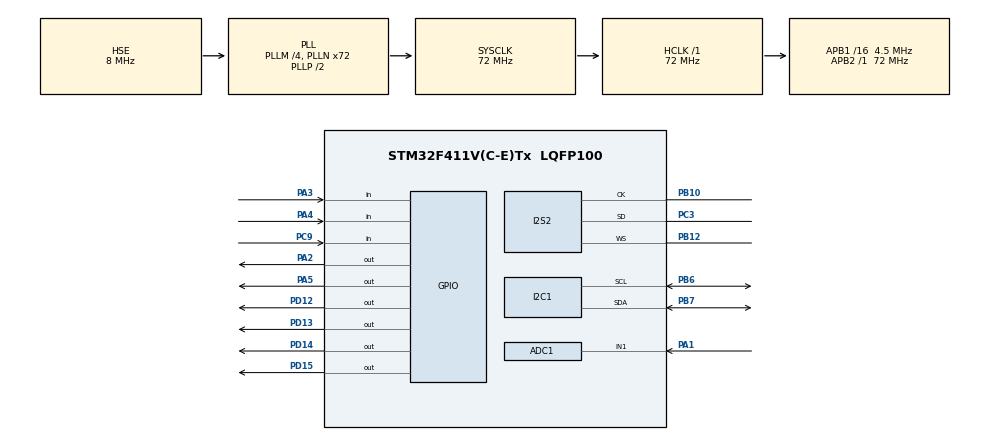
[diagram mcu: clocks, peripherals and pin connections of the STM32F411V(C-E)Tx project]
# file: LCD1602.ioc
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ADC1.Channel-3\#ChannelRegularConversion=ADC_CHANNEL_1
ADC1.ContinuousConvMode=ENABLE
ADC1.NbrOfConversionFlag=1
ADC1.Rank-3\#ChannelRegularConversion=1
ADC1.Resolution=ADC_RESOLUTION_10B
ADC1.SamplingTime-3\#ChannelRegularConversion=ADC_SAMPLETIME_3CYCLES
ADC1.ScanConvMode=ENABLE
ADC1.master=1
I2S2.AudioFreq=I2S_AUDIOFREQ_48K
I2S2.ErrorAudioFreq=0.15 %
I2S2.FullDuplexMode=I2S_FULLDUPLEXMODE_DISABLE
I2S2.Instance=SPI$Index
I2S2.Mode=I2S_MODE_MASTER_RX
I2S2.RealAudioFreq=48.076 KHz
I2S2.Standard=I2S_STANDARD_PHILIPS
I2S2.VirtualMode=I2S_MODE_MASTER
Mcu.Family=STM32F4
Mcu.Name=STM32F411V(C-E)Tx
Mcu.Package=LQFP100
NVIC.PriorityGroup=NVIC_PRIORITYGROUP_0
NVIC.TIM3_IRQn=true\:0\:0\:false\:false\:true\:true\:true\:true
PA1.Signal=ADCx_IN1
PA13.Mode=Serial_Wire
PA13.Signal=SYS_JTMS-SWDIO
PA14.Mode=Serial_Wire
PA14.Signal=SYS_JTCK-SWCLK
PA2.Signal=GPIO_Output
PA3.Signal=GPIO_Input
PA4.Signal=GPIO_Input
PA5.Signal=GPIO_Output
PB10.Mode=Half_Duplex_Master
PB10.Signal=I2S2_CK
PB12.Mode=Half_Duplex_Master
PB12.Signal=I2S2_WS
PB6.GPIO_Pu=GPIO_NOPULL
PB6.Mode=I2C
PB6.Signal=I2C1_SCL
PB7.GPIO_Pu=GPIO_NOPULL
PB7.Mode=I2C
PB7.Signal=I2C1_SDA
PC3.Mode=Half_Duplex_Master
PC3.Signal=I2S2_SD
PC9.Signal=GPIO_Input
PD12.Signal=GPIO_Output
PD13.Signal=GPIO_Output
PD14.GPIO_PuPd=GPIO_PULLUP
PD14.Signal=GPIO_Output
PD15.Signal=GPIO_Output
PH0\ -\ OSC_IN.Mode=HSE-External-Oscillator
PH0\ -\ OSC_IN.Signal=RCC_OSC_IN
PH1\ -\ OSC_OUT.Mode=HSE-External-Oscillator
PH1\ -\ OSC_OUT.Signal=RCC_OSC_OUT
ProjectManager.HeapSize=0x200
ProjectManager.StackSize=0x400
ProjectManager.TargetToolchain=STM32CubeIDE
RCC.48MHZClocksFreq_Value=18000000
RCC.AHBFreq_Value=72000000
RCC.APB1CLKDivider=RCC_HCLK_DIV16
RCC.APB1Freq_Value=4500000
RCC.APB1TimFreq_Value=9000000
RCC.APB2Freq_Value=72000000
RCC.APB2TimFreq_Value=72000000
RCC.CortexFreq_Value=72000000
RCC.HCLKFreq_Value=72000000
RCC.HSE_VALUE=8000000
RCC.HSI_VALUE=16000000
RCC.LSE_VALUE=32768
RCC.PLLI2SM=5
RCC.PLLI2SN=200
RCC.PLLM=4
RCC.PLLN=72
RCC.PLLQ=8
RCC.PLLSourceVirtual=RCC_PLLSOURCE_HSE
RCC.SYSCLKFreq_VALUE=72000000
RCC.SYSCLKSource=RCC_SYSCLKSOURCE_PLLCLK
RCC.VCOOutputFreq_Value=144000000
SH.ADCx_IN1.0=ADC1_IN1,IN1
TIM1.Prescaler=71
TIM3.ClockDivision=TIM_CLOCKDIVISION_DIV1
TIM3.Period=65532
TIM3.Prescaler=65532
VP_TIM1_VS_ClockSourceINT.Mode=Internal
VP_TIM3_VS_ClockSourceINT.Mode=Internal
board=STM32F411E-DISCO

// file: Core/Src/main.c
/* USER CODE BEGIN Header */
/**
  ******************************************************************************
  * @file           : main.c
  * @brief          : Main program body
  ******************************************************************************
  * @attention
  *
  * Copyright (c) 2022 STMicroelectronics.
  * All rights reserved.
  *
  * This software is licensed under terms that can be found in the LICENSE file
  * in the root directory of this software component.
  * If no LICENSE file comes with this software, it is provided AS-IS.
  *
  ******************************************************************************
  */
/* USER CODE END Header */
#include "main.h"

/* USER CODE BEGIN Includes */
#include "i2c-lcd.h"  //biblioteca para el uso del LCD 1602
/* USER CODE END Includes */

ADC_HandleTypeDef hadc1; //Handler para el convertidor usado en el LDR

I2C_HandleTypeDef hi2c1; // Handler para conectividad I2C para la conectividad con la LCD1602

I2S_HandleTypeDef hi2s2; //Handler para conectividad I2S para la incorporacion del microfono

TIM_HandleTypeDef htim1; //Handler para temporizador para el sensor ultrasonido
TIM_HandleTypeDef htim3; // Handler para temporizador para el cambio de dia a noche

/* USER CODE BEGIN PV */

uint32_t pMillis;
uint32_t Value1 = 0; //valor de ida
uint32_t Value2 = 0; // valor de retorno
uint8_t Distance  = 0;// distancia recorrida
uint32_t tiempo=0;
char distancia=0;
uint16_t ADC_val; //valor para ver la intensidad de luz que recibe la LDR
volatile int8_t flag=-1; // comienzo de noche, si el flag estuviera a 1 seria dia, este flag cambia cada 2 mins
volatile int8_t sw=0; // Switch general del programa

//MICROFONO
int ja =0;
int vol= 0;
int alarma_MIC=0;
volatile int alarma;
/* USER CODE END PV */

void SystemClock_Config(void);   // funciones para la inicialización de todos los perifericos
static void MX_GPIO_Init(void);
static void MX_I2C1_Init(void);
static void MX_TIM1_Init(void);
static void MX_ADC1_Init(void);
static void MX_I2S2_Init(void);
static void MX_TIM3_Init(void);

/* USER CODE BEGIN 0 */
void HAL_TIM_PeriodElapsedCallback(TIM_HandleTypeDef *htim) // interrupcion del temp 3
{

	if(htim->Instance==TIM3){   // cada dos minutos cambia de noche a mañana
	flag*=-1;
	HAL_GPIO_TogglePin(GPIOD, GPIO_PIN_14); // Led del propio micro que indica la hora del dia
	}
}

void sensor_distancia(){
				uint16_t dist=0;
					HAL_GPIO_WritePin(GPIOA, GPIO_PIN_2, GPIO_PIN_SET);  // poner el pin de disparo a uno
		 	      __HAL_TIM_SET_COUNTER(&htim1, 0);
		 	      while (__HAL_TIM_GET_COUNTER (&htim1) < 10);  // esperar 10 us
		 	      HAL_GPIO_WritePin(GPIOA, GPIO_PIN_2, GPIO_PIN_RESET);  // poner el pin de disparo a cero

		 	      pMillis = HAL_GetTick(); // esto evita un bucle infinito
		 	      //esperamos a que el pin de retorno se ponga a uno
		 	      while (!(HAL_GPIO_ReadPin (GPIOA, GPIO_PIN_3)) && pMillis + 10 >  HAL_GetTick());
		 	      Value1 = __HAL_TIM_GET_COUNTER (&htim1);

		 	      pMillis = HAL_GetTick(); //esto evita un bucle infinito
		 	      // esperamos a que el pin de retorno se ponga a cero
		 	      while ((HAL_GPIO_ReadPin (GPIOA, GPIO_PIN_3)) && pMillis + 50 > HAL_GetTick());
		 	      Value2 = __HAL_TIM_GET_COUNTER (&htim1);

		 	      Distance = (Value2-Value1)* 0.034/2;  //Se calcula la distancia segun la diferencia entre los
		 	      // valores por la velocidad del sonido, todo entre dos.
		 	      distancia=Distance+48;// para transforma a ASCII para la LCD que solo puede escribir de 0 a 9

		 	      HAL_Delay(50);

		 	     // if(HAL_GetTick()-tiempo>1000){
		 	    	 if(Distance>=10 &&  Distance<20){   // como se van a imprimir los datos segun el intervalo
                                                         //en el que se encuentre
			 	           dist=Distance-10; //la distancioa menos 10
			 	           lcd_put_cur(0,0);
			 	           lcd_send_data(49); // se imprime un 1
			 	           lcd_put_cur(0,1);
			 	           lcd_send_data(dist+48);// se imprime el segundo digito de 0 a 9
			 	           HAL_Delay(500);
			 	           lcd_clear();

		 	    	 }
		 	    	 if(Distance>=20 &&  Distance<30){

		 	    				 	           dist=Distance-20; // La distancia menos 20
		 	    				 	           lcd_put_cur(0,0);
		 	    				 	           lcd_send_data(50); //ahora en vez de imprimir un 1 como en mayor
		 	    				 	           lcd_put_cur(0,1); // que veinte se imprimira un 2
		 	    				 	           lcd_send_data(dist+48); // y el segundo de digito de 0 a 9
		 	    				 	           HAL_Delay(500);
		 	    				 	           lcd_clear();

		 	    			 	    	 }
		 	    	 else{

		 	    		 lcd_send_data(distancia); // si esta fuera de los limites imprimirá basura
		 	    		 lcd_put_cur(0,0);
		 	    		 //HAL_Delay(1000);
		 	    		// lcd_clear();
		 	    	 }
		 	     // HAL_Delay(1000);
		 	    //  lcd_clear();

		 	      if (Distance < 10){
		 	    	 // HAL_GPIO_WritePin (GPIOD,GPIO_PIN_12,1);
		 	    	  alarma =1;  // si la distancia se reduce por debajo de los 10 la alarma saltará

		 	      }

	  }
void microfono(){
	int n = 50;
	int binary[1600],temp[1600];
	int buf[1600];
	int sum = 0;
	int son = 0;
	uint16_t sound_in[3000];

	  HAL_I2S_Receive(&hi2s2,sound_in, n, 1000);

	  for (int i = 0; i < n; i++) {
		for (int j = 0; j < 16; j++) {
			binary[j] = sound_in[i] % 2;
			sound_in[i] = sound_in[i]/2;
		}

		//reverse
		for (int j = 0; j < 16; j++) {
			temp[i * 16 + j] = binary[15 - j];
		}
	  }

	for (int i = 7; i + 8 < n*16; i++) {
		sum = 0;
		for (int j = -7; j <= 8; j++)
			sum += temp[i + j];
		if(sum - 8 < 0)  buf[i] = -(sum-8);
		else buf[i] = sum-8;
	}

	vol =0;
	for (int i = 14; i + 16 < n*16; i++) {
		for (int j = -7; j <= 8; j++)
			vol += buf[i + j];
	}

	ja  = 0;
	son = 0;
	while (vol > 500){
		ja  +=1;
		son +=1;
		vol -= 500;
	}
	if (son>60){
		alarma_MIC += 1;
		if (alarma_MIC>1){
			alarma =1;
		}
	}

}

void ldr(){
	  HAL_ADC_Start(&hadc1); // se inicia el convertidor
	  HAL_ADC_PollForConversion(&hadc1, 100); // se hace la conversion
	  ADC_val = HAL_ADC_GetValue(&hadc1); // y se obtiene el valor

	  if(ADC_val>300){ // si la intensidad sobrepasa los 300 la alarma saltará
		  alarma =1;
	  }
}

/* USER CODE END 0 */

int main(void)
{

  /* MCU Configuration--------------------------------------------------------*/

  /* Reset of all peripherals, Initializes the Flash interface and the Systick. */
  HAL_Init();

  /* Configure the system clock */
  SystemClock_Config();

  /* Initialize all configured peripherals */
  MX_GPIO_Init();
  MX_I2C1_Init();
  MX_TIM1_Init();
  MX_ADC1_Init(); // inicializamos todos los perifericos
  MX_I2S2_Init();
  MX_TIM3_Init();
  /* USER CODE BEGIN 2 */
  HAL_TIM_Base_Start(&htim1); // inicializamos todos los temporizadores
  HAL_TIM_Base_Start_IT(&htim3);

  HAL_GPIO_WritePin(GPIOA, GPIO_PIN_2, GPIO_PIN_RESET);  //ponemos el pin de disparo del sensor de sonido a 0
  lcd_init();
  tiempo=HAL_GetTick();

  /* USER CODE END 2 */

  /* Infinite loop */
  while (1)
  {

    /* USER CODE BEGIN 3 */

	  if(HAL_GPIO_ReadPin(GPIOA, GPIO_PIN_4)){   // si el Sw esta prendido funcionará

		  HAL_GPIO_WritePin(GPIOA, GPIO_PIN_5, 1); // en ese caso se encendera una luz roja en la maqueta

	   sensor_distancia(); // se llaman las funciones del sensor de distancia y de sonido
	   microfono();

		 	  if(flag>0){ // se enciended si es de noche==1
		 	  ldr();   // solo funcionará en caso de que la casa se encuentre e una noche virtual

		 	  }

		 	  if ((alarma == 1)){  // si salta la alarma se enciende otra luz amarilla en la caja
		 		  HAL_GPIO_WritePin(GPIOD, GPIO_PIN_12, GPIO_PIN_SET);
		 		  HAL_GPIO_WritePin(GPIOD, GPIO_PIN_13, GPIO_PIN_SET);
		 		  HAL_GPIO_WritePin(GPIOD, GPIO_PIN_15, GPIO_PIN_SET); // se le comunica a el otro microcontrolador

		 	  }
		 	 if (HAL_GPIO_ReadPin(GPIOC, GPIO_PIN_9)){  //boton que descativara la alarma en caso de saltar por error
				  alarma=0;
				  HAL_GPIO_WritePin(GPIOD, GPIO_PIN_13, GPIO_PIN_RESET);
				  HAL_GPIO_WritePin(GPIOD, GPIO_PIN_15, GPIO_PIN_RESET);
			  }

	  }
	  else {
		  HAL_GPIO_WritePin(GPIOA, GPIO_PIN_5, 0); // si el sw esta apagadado nada funcionará

	  }

  }
  /* USER CODE END 3 */
}

void SystemClock_Config(void)
{
  RCC_OscInitTypeDef RCC_OscInitStruct = {0};
  RCC_ClkInitTypeDef RCC_ClkInitStruct = {0};

  /** Configure the main internal regulator output voltage
  */
  __HAL_RCC_PWR_CLK_ENABLE();
  __HAL_PWR_VOLTAGESCALING_CONFIG(PWR_REGULATOR_VOLTAGE_SCALE1);

  /** Initializes the RCC Oscillators according to the specified parameters
  * in the RCC_OscInitTypeDef structure.
  */
  RCC_OscInitStruct.OscillatorType = RCC_OSCILLATORTYPE_HSE;
  RCC_OscInitStruct.HSEState = RCC_HSE_ON;
  RCC_OscInitStruct.PLL.PLLState = RCC_PLL_ON;
  RCC_OscInitStruct.PLL.PLLSource = RCC_PLLSOURCE_HSE;
  RCC_OscInitStruct.PLL.PLLM = 4;
  RCC_OscInitStruct.PLL.PLLN = 72;
  RCC_OscInitStruct.PLL.PLLP = RCC_PLLP_DIV2;
  RCC_OscInitStruct.PLL.PLLQ = 8;
  if (HAL_RCC_OscConfig(&RCC_OscInitStruct) != HAL_OK)
  {
    Error_Handler();
  }

  /** Initializes the CPU, AHB and APB buses clocks
  */
  RCC_ClkInitStruct.ClockType = RCC_CLOCKTYPE_HCLK|RCC_CLOCKTYPE_SYSCLK
                              |RCC_CLOCKTYPE_PCLK1|RCC_CLOCKTYPE_PCLK2;
  RCC_ClkInitStruct.SYSCLKSource = RCC_SYSCLKSOURCE_PLLCLK;
  RCC_ClkInitStruct.AHBCLKDivider = RCC_SYSCLK_DIV1;
  RCC_ClkInitStruct.APB1CLKDivider = RCC_HCLK_DIV16;
  RCC_ClkInitStruct.APB2CLKDivider = RCC_HCLK_DIV1;

  if (HAL_RCC_ClockConfig(&RCC_ClkInitStruct, FLASH_LATENCY_2) != HAL_OK)
  {
    Error_Handler();
  }
}

static void MX_ADC1_Init(void)
{

  ADC_ChannelConfTypeDef sConfig = {0};

  /** Configure the global features of the ADC (Clock, Resolution, Data Alignment and number of conversion)
  */
  hadc1.Instance = ADC1;
  hadc1.Init.ClockPrescaler = ADC_CLOCK_SYNC_PCLK_DIV2;
  hadc1.Init.Resolution = ADC_RESOLUTION_10B;
  hadc1.Init.ScanConvMode = ENABLE;
  hadc1.Init.ContinuousConvMode = ENABLE;
  hadc1.Init.DiscontinuousConvMode = DISABLE;
  hadc1.Init.ExternalTrigConvEdge = ADC_EXTERNALTRIGCONVEDGE_NONE;
  hadc1.Init.ExternalTrigConv = ADC_SOFTWARE_START;
  hadc1.Init.DataAlign = ADC_DATAALIGN_RIGHT;
  hadc1.Init.NbrOfConversion = 1;
  hadc1.Init.DMAContinuousRequests = DISABLE;
  hadc1.Init.EOCSelection = ADC_EOC_SINGLE_CONV;
  if (HAL_ADC_Init(&hadc1) != HAL_OK)
  {
    Error_Handler();
  }

  /** Configure for the selected ADC regular channel its corresponding rank in the sequencer and its sample time.
  */
  sConfig.Channel = ADC_CHANNEL_1;
  sConfig.Rank = 1;
  sConfig.SamplingTime = ADC_SAMPLETIME_3CYCLES;
  if (HAL_ADC_ConfigChannel(&hadc1, &sConfig) != HAL_OK)
  {
    Error_Handler();
  }

}

static void MX_I2C1_Init(void)
{

  hi2c1.Instance = I2C1;
  hi2c1.Init.ClockSpeed = 100000;
  hi2c1.Init.DutyCycle = I2C_DUTYCYCLE_2;
  hi2c1.Init.OwnAddress1 = 0;
  hi2c1.Init.AddressingMode = I2C_ADDRESSINGMODE_7BIT;
  hi2c1.Init.DualAddressMode = I2C_DUALADDRESS_DISABLE;
  hi2c1.Init.OwnAddress2 = 0;
  hi2c1.Init.GeneralCallMode = I2C_GENERALCALL_DISABLE;
  hi2c1.Init.NoStretchMode = I2C_NOSTRETCH_DISABLE;
  if (HAL_I2C_Init(&hi2c1) != HAL_OK)
  {
    Error_Handler();
  }

}

static void MX_I2S2_Init(void)
{

  hi2s2.Instance = SPI2;
  hi2s2.Init.Mode = I2S_MODE_MASTER_RX;
  hi2s2.Init.Standard = I2S_STANDARD_PHILIPS;
  hi2s2.Init.DataFormat = I2S_DATAFORMAT_16B;
  hi2s2.Init.MCLKOutput = I2S_MCLKOUTPUT_DISABLE;
  hi2s2.Init.AudioFreq = I2S_AUDIOFREQ_48K;
  hi2s2.Init.CPOL = I2S_CPOL_LOW;
  hi2s2.Init.ClockSource = I2S_CLOCK_PLL;
  hi2s2.Init.FullDuplexMode = I2S_FULLDUPLEXMODE_DISABLE;
  if (HAL_I2S_Init(&hi2s2) != HAL_OK)
  {
    Error_Handler();
  }

}

static void MX_TIM1_Init(void)
{

  TIM_ClockConfigTypeDef sClockSourceConfig = {0};
  TIM_MasterConfigTypeDef sMasterConfig = {0};

  htim1.Instance = TIM1;
  htim1.Init.Prescaler = 71;
  htim1.Init.CounterMode = TIM_COUNTERMODE_UP;
  htim1.Init.Period = 65535;
  htim1.Init.ClockDivision = TIM_CLOCKDIVISION_DIV1;
  htim1.Init.RepetitionCounter = 0;
  htim1.Init.AutoReloadPreload = TIM_AUTORELOAD_PRELOAD_DISABLE;
  if (HAL_TIM_Base_Init(&htim1) != HAL_OK)
  {
    Error_Handler();
  }
  sClockSourceConfig.ClockSource = TIM_CLOCKSOURCE_INTERNAL;
  if (HAL_TIM_ConfigClockSource(&htim1, &sClockSourceConfig) != HAL_OK)
  {
    Error_Handler();
  }
  sMasterConfig.MasterOutputTrigger = TIM_TRGO_RESET;
  sMasterConfig.MasterSlaveMode = TIM_MASTERSLAVEMODE_DISABLE;
  if (HAL_TIMEx_MasterConfigSynchronization(&htim1, &sMasterConfig) != HAL_OK)
  {
    Error_Handler();
  }

}

static void MX_TIM3_Init(void)
{

  TIM_ClockConfigTypeDef sClockSourceConfig = {0};
  TIM_MasterConfigTypeDef sMasterConfig = {0};

  htim3.Instance = TIM3;
  htim3.Init.Prescaler = 65532;
  htim3.Init.CounterMode = TIM_COUNTERMODE_UP;
  htim3.Init.Period = 65532;
  htim3.Init.ClockDivision = TIM_CLOCKDIVISION_DIV1;
  htim3.Init.AutoReloadPreload = TIM_AUTORELOAD_PRELOAD_DISABLE;
  if (HAL_TIM_Base_Init(&htim3) != HAL_OK)
  {
    Error_Handler();
  }
  sClockSourceConfig.ClockSource = TIM_CLOCKSOURCE_INTERNAL;
  if (HAL_TIM_ConfigClockSource(&htim3, &sClockSourceConfig) != HAL_OK)
  {
    Error_Handler();
  }
  sMasterConfig.MasterOutputTrigger = TIM_TRGO_RESET;
  sMasterConfig.MasterSlaveMode = TIM_MASTERSLAVEMODE_DISABLE;
  if (HAL_TIMEx_MasterConfigSynchronization(&htim3, &sMasterConfig) != HAL_OK)
  {
    Error_Handler();
  }

}

static void MX_GPIO_Init(void)
{
  GPIO_InitTypeDef GPIO_InitStruct = {0};

  /* GPIO Ports Clock Enable */
  __HAL_RCC_GPIOH_CLK_ENABLE();
  __HAL_RCC_GPIOC_CLK_ENABLE();
  __HAL_RCC_GPIOA_CLK_ENABLE();
  __HAL_RCC_GPIOB_CLK_ENABLE();
  __HAL_RCC_GPIOD_CLK_ENABLE();

  /*Configure GPIO pin Output Level */
  HAL_GPIO_WritePin(GPIOA, GPIO_PIN_2|GPIO_PIN_5, GPIO_PIN_RESET);

  /*Configure GPIO pin Output Level */
  HAL_GPIO_WritePin(GPIOD, GPIO_PIN_12|GPIO_PIN_13|GPIO_PIN_14|GPIO_PIN_15, GPIO_PIN_RESET);

  /*Configure GPIO pins : PA2 PA5 */
  GPIO_InitStruct.Pin = GPIO_PIN_2|GPIO_PIN_5;
  GPIO_InitStruct.Mode = GPIO_MODE_OUTPUT_PP;
  GPIO_InitStruct.Pull = GPIO_NOPULL;
  GPIO_InitStruct.Speed = GPIO_SPEED_FREQ_LOW;
  HAL_GPIO_Init(GPIOA, &GPIO_InitStruct);

  /*Configure GPIO pins : PA3 PA4 */
  GPIO_InitStruct.Pin = GPIO_PIN_3|GPIO_PIN_4;
  GPIO_InitStruct.Mode = GPIO_MODE_INPUT;
  GPIO_InitStruct.Pull = GPIO_NOPULL;
  HAL_GPIO_Init(GPIOA, &GPIO_InitStruct);

  /*Configure GPIO pins : PD12 PD13 PD15 */
  GPIO_InitStruct.Pin = GPIO_PIN_12|GPIO_PIN_13|GPIO_PIN_15;
  GPIO_InitStruct.Mode = GPIO_MODE_OUTPUT_PP;
  GPIO_InitStruct.Pull = GPIO_NOPULL;
  GPIO_InitStruct.Speed = GPIO_SPEED_FREQ_LOW;
  HAL_GPIO_Init(GPIOD, &GPIO_InitStruct);

  /*Configure GPIO pin : PD14 */
  GPIO_InitStruct.Pin = GPIO_PIN_14;
  GPIO_InitStruct.Mode = GPIO_MODE_OUTPUT_PP;
  GPIO_InitStruct.Pull = GPIO_PULLUP;
  GPIO_InitStruct.Speed = GPIO_SPEED_FREQ_LOW;
  HAL_GPIO_Init(GPIOD, &GPIO_InitStruct);

  /*Configure GPIO pin : PC9 */
  GPIO_InitStruct.Pin = GPIO_PIN_9;
  GPIO_InitStruct.Mode = GPIO_MODE_INPUT;
  GPIO_InitStruct.Pull = GPIO_NOPULL;
  HAL_GPIO_Init(GPIOC, &GPIO_InitStruct);

}

void Error_Handler(void)
{
  __disable_irq();
  while (1)
  {
  }
}
